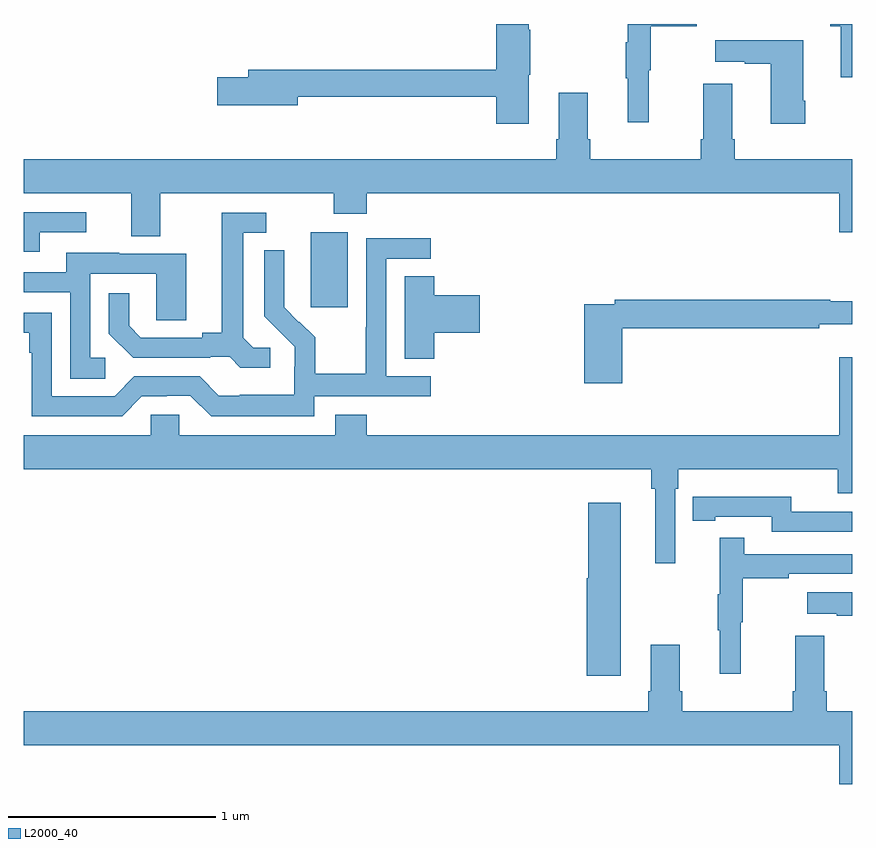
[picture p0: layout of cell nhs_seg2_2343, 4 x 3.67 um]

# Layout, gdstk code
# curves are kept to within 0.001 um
import gdstk
lib = gdstk.Library(unit=1e-6, precision=1e-09)
def R(c, l, rs):  # rectangles x0, y0, x1, y1
    for r in rs: c.add(gdstk.rectangle(r[:2], r[2:], *l))
def P(c, l, *ps):  # polygons
    for p in ps: c.add(gdstk.Polygon(p, *l))
L2000_40 = (2000, 40)

nhs_seg2_2343 = lib.new_cell('nhs_seg2_2343')
R(nhs_seg2_2343, L2000_40, [(234.386,632.433,234.565,632.794)])
P(nhs_seg2_2343, L2000_40, [(237,633.8),(236.892,633.8),(236.892,633.789),(236.945,633.789),(236.945,633.543),(237,633.543)],
  [(235.438,633.555),(235.446,633.555),(235.446,633.773),(235.438,633.773),(235.438,633.8),(235.28,633.8),(235.28,633.578),(234.083,633.578),(234.083,633.542),(233.934,633.542),(233.934,633.407),(234.322,633.407),(234.322,633.45),(235.28,633.45),(235.28,633.318),(235.438,633.318)],
  [(236.018,633.576),(236.026,633.576),(236.026,633.79),(236.249,633.79),(236.249,633.8),(235.916,633.8),(235.916,633.713),(235.905,633.713),(235.905,633.539),(235.916,633.539),(235.916,633.327),(236.018,633.327)],
  [(236.772,633.43),(236.764,633.43),(236.764,633.721),(236.337,633.721),(236.337,633.617),(236.48,633.617),(236.48,633.607),(236.606,633.607),(236.606,633.318),(236.772,633.318)],
  [(233,632.984),(233.519,632.984),(233.519,632.776),(233.659,632.776),(233.659,632.984),(234.496,632.984),(234.496,632.885),(234.656,632.885),(234.656,632.984),(236.936,632.984),(236.936,632.796),(237,632.796),(237,633.148),(236.432,633.148),(236.432,633.244),(236.419,633.244),(236.419,633.511),(236.279,633.511),(236.279,633.244),(236.267,633.244),(236.267,633.148),(235.736,633.148),(235.736,633.244),(235.723,633.244),(235.723,633.469),(235.583,633.469),(235.583,633.244),(235.571,633.244),(235.571,633.148),(233,633.148)],
  [(233.077,632.796),(233.302,632.796),(233.302,632.892),(233,632.892),(233,632.7),(233.077,632.7)],
  [(234.19,632.238),(234.108,632.238),(234.061,632.285),(234.061,632.793),(234.172,632.793),(234.172,632.889),(233.957,632.889),(233.957,632.309),(233.861,632.309),(233.861,632.286),(233.566,632.286),(233.509,632.343),(233.509,632.5),(233.412,632.5),(233.412,632.306),(233.528,632.19),(233.9,632.19),(233.9,632.193),(233.994,632.193),(234.046,632.141),(234.19,632.141)],
  [(234.402,632.004),(234.964,632.004),(234.964,632.1),(234.75,632.1),(234.75,632.667),(234.964,632.667),(234.964,632.766),(234.654,632.766),(234.654,632.336),(234.652,632.336),(234.652,632.113),(234.407,632.113),(234.407,632.287),(234.33,632.364),(234.327,632.361),(234.257,632.432),(234.258,632.708),(234.162,632.708),(234.162,632.39),(234.308,632.242),(234.308,632.145),(234.306,632.145),(234.306,632.011),(234.043,632.011),(234.043,632.007),(233.943,632.007),(233.85,632.1),(233.535,632.1),(233.439,632.004),(233.136,632.004),(233.136,632.406),(233,632.406),(233,632.31),(233.027,632.31),(233.027,632.213),(233.04,632.213),(233.04,631.908),(233.475,631.908),(233.571,632.004),(233.69,632.004),(233.69,632.007),(233.805,632.007),(233.905,631.907),(234.402,631.907)],
  [(233.395,632.19),(233.322,632.19),(233.322,632.595),(233.64,632.595),(233.64,632.371),(233.785,632.371),(233.785,632.691),(233.461,632.691),(233.461,632.695),(233.207,632.695),(233.207,632.601),(233,632.601),(233,632.505),(233.226,632.505),(233.226,632.089),(233.395,632.089)],
  [(234.983,632.309),(235.201,632.309),(235.201,632.492),(234.983,632.492),(234.983,632.582),(234.839,632.582),(234.839,632.185),(234.983,632.185)],
  [(235.889,632.332),(236.84,632.332),(236.84,632.351),(237,632.351),(237,632.461),(236.894,632.461),(236.894,632.468),(235.852,632.468),(235.852,632.448),(235.706,632.448),(235.706,632.067),(235.889,632.067)],
  [(236.145,631.556),(236.159,631.556),(236.159,631.652),(236.93,631.652),(236.93,631.535),(237,631.535),(237,632.191),(236.936,632.191),(236.936,631.816),(234.656,631.816),(234.656,631.915),(234.503,631.915),(234.503,631.816),(233.751,631.816),(233.751,631.914),(233.613,631.914),(233.613,631.816),(233,631.816),(233,631.652),(236.029,631.652),(236.029,631.556),(236.048,631.556),(236.048,631.197),(236.145,631.197)],
  [(237,631.446),(236.706,631.446),(236.706,631.519),(236.338,631.519),(236.338,631.518),(236.23,631.518),(236.23,631.402),(236.338,631.402),(236.338,631.422),(236.61,631.422),(236.61,631.35),(237,631.35)],
  [(235.882,631.489),(235.724,631.489),(235.724,631.125),(235.718,631.125),(235.718,630.654),(235.882,630.654)],
  [(236.462,630.912),(236.47,630.912),(236.47,631.126),(236.693,631.126),(236.693,631.146),(237,631.146),(237,631.242),(236.477,631.242),(236.477,631.321),(236.36,631.321),(236.36,631.049),(236.349,631.049),(236.349,630.875),(236.36,630.875),(236.36,630.663),(236.462,630.663)],
  [(237,631.057),(236.781,631.057),(236.781,630.953),(236.924,630.953),(236.924,630.943),(237,630.943)],
  [(237,630.484),(236.876,630.484),(236.876,630.58),(236.863,630.58),(236.863,630.847),(236.723,630.847),(236.723,630.58),(236.711,630.58),(236.711,630.484),(236.18,630.484),(236.18,630.58),(236.167,630.58),(236.167,630.805),(236.027,630.805),(236.027,630.58),(236.015,630.58),(236.015,630.484),(233,630.484),(233,630.32),(236.936,630.32),(236.936,630.132),(237,630.132)])

lib.write_gds('nhs_seg2_2343.gds')
